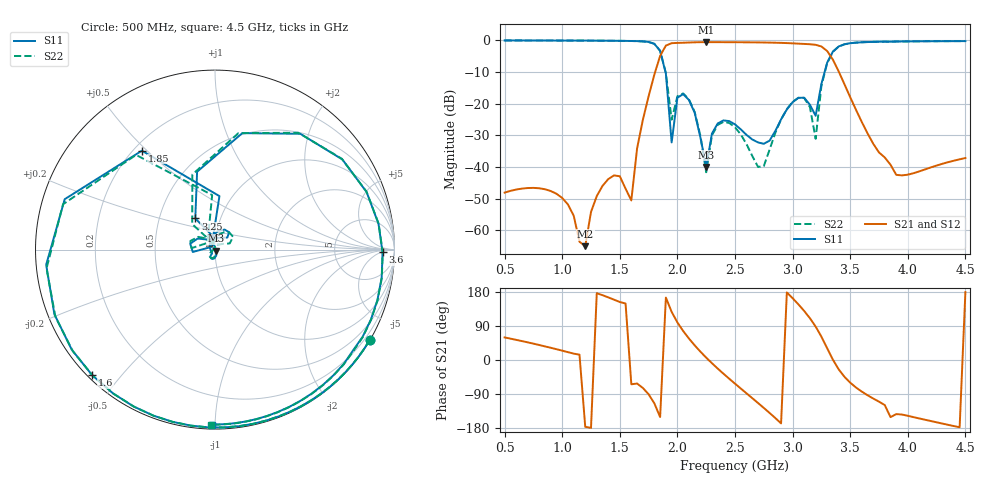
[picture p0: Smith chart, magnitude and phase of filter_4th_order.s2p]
! 2-port S-parameter data
! S-port 1 net1
! S-port 2 net2
# GHz S DB R 50
!freq dBS11 angS11 dBS21 angS21 dBS12 angS12 dBS22 angS22
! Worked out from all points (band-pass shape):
!   81 points, 500 MHz to 4.5 GHz, reference 50 ohm
!   highest |S21| = -0.54 dB at 2.25 GHz (marker M1); lowest = -65.0 dB at 1.2 GHz (marker M2)
!   |S21| within 3 dB of the highest: 1.871 GHz to 3.304 GHz (1.433 GHz wide, 55.4 % of centre)
!   lowest |S11| = -39.9 dB at 2.25 GHz (marker M3), VSWR 1.02, Z = 50.8 - j0.593 ohm
!   |S11| at or under -10 dB: 1.897 GHz to 3.278 GHz (1.381 GHz wide, 53.4 % of centre)
!   |S22| runs from -41.6 to 0.0 dB; largest |S21 - S12| = 1.6e-14
!   S11 on the Smith chart (normalised r, x): 500 MHz: 0.01, -3.70; 1.6 GHz: 0.01, -0.42; 1.85 GHz: 0.23, +0.48; 3.25 GHz: 0.76, +0.28; 3.6 GHz: 28, -6; 4.5 GHz: 0.03, -0.98
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0.5  -0.01 -30.3  -48.06 59.6  -48.06 59.6  -0.01 -30.3
0.95  -0.04 -61.2  -48.42 28.5  -48.42 28.5  -0.04 -61.2
1.2  -0.06 -82.3  -64.97 -176.4  -64.97 -176.4  -0.06 -82.3
1.4  -0.10 -103.8  -43.78 165.3  -43.78 165.3  -0.10 -103.7
1.6  -0.19 -134.4  -50.52 -64.1  -50.52 -64.1  -0.19 -134.0
1.75  -0.50 -174.9  -17.63 -90.4  -17.63 -90.4  -0.50 -173.6
1.85  -3.28 126.5  -4.89 -150.6  -4.89 -150.6  -3.26 129.8
1.95  -32.21 142.0  -0.88 127.0  -0.88 127.0  -25.03 138.0
2  -18.09 -173.9  -0.79 99.1  -0.79 99.1  -17.64 176.5
2.15  -22.85 128.6  -0.60 38.7  -0.60 38.7  -22.58 124.6
2.25  -39.94 -35.4  -0.54 6.3  -0.54 6.3  -41.64 -33.8
2.35  -26.23 -94.0  -0.55 -22.6  -0.55 -22.6  -26.66 -100.5
2.5  -26.51 -122.5  -0.57 -62.4  -0.57 -62.4  -27.43 -135.4
2.75  -32.64 -151.2  -0.66 -126.5  -0.66 -126.5  -39.71 153.5
2.9  -24.93 117.1  -0.78 -167.2  -0.78 -167.2  -24.93 91.4
3.1  -18.07 50.8  -1.11 129.6  -1.11 129.6  -18.17 35.2
3.2  -23.79 91.7  -1.39 88.2  -1.39 88.2  -31.08 95.5
3.25  -13.75 122.3  -1.91 61.7  -1.91 61.7  -14.41 131.8
3.4  -1.92 53.6  -9.78 -24.6  -9.78 -24.6  -1.94 54.5
3.6  -0.60 -0.9  -25.71 -83.3  -25.71 -83.3  -0.59 -1.1
3.85  -0.42 -36.1  -39.25 -150.7  -39.25 -150.7  -0.39 -36.6
4.5  -0.22 -91.0  -37.14 179.2  -37.14 179.2  -0.21 -91.4
